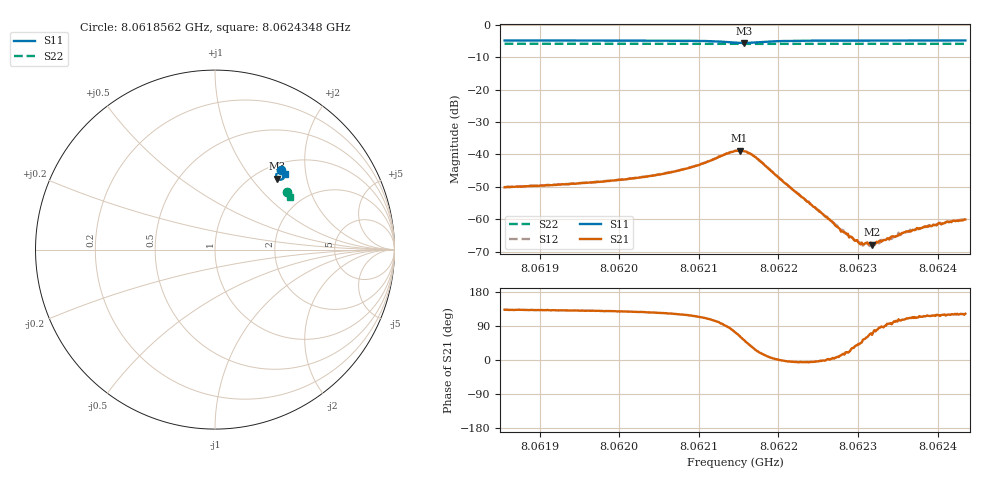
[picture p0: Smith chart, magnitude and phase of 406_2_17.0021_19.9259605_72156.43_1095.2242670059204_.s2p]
#  HZ  S  RI  R  50.00
! Rohde & Schwarz Vector Network Analyzer
! Rohde-Schwarz,ZNB20-2Port,1311601062101988,3.16
! Created: UTC 3/20/2024, 11:10:15 PM
! freq[Hz]  re:S11  im:S11  re:S21  im:S21  re:S12  im:S12  re:S22  im:S22
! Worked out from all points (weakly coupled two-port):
!   401 points, 8.0618562 GHz to 8.0624348 GHz, reference 50 ohm
!   highest |S21| = -38.82 dB at 8.0621512 GHz (marker M1); lowest = -67.9 dB at 8.0623176 GHz (marker M2)
!   lowest |S11| = -5.6 dB at 8.062157 GHz (marker M3), VSWR 3.23, Z = 62.1 + j68 ohm
!   |S11| at or under -10 dB: nowhere
!   |S22| runs from -5.9 to -5.8 dB; largest |S21 - S12| = 0.00079
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8.06185616e9  0.3679 0.4432  -0.00211 0.00229  -0.00199 0.00246  0.3992 0.3204
8.06195307e9  0.3748 0.4371  -0.00234 0.00274  -0.0022 0.00292  0.4029 0.3154
8.06200804e9  0.3791 0.4324  -0.00255 0.00327  -0.00236 0.00341  0.405 0.3126
8.06204999e9  0.3828 0.4272  -0.00275 0.00404  -0.00254 0.00422  0.4065 0.3104
8.06209628e9  0.3868 0.4162  -0.00285 0.00603  -0.00247 0.00628  0.4081 0.3076
8.06214546e9  0.3651 0.3895  0.00323 0.0108  0.00386 0.0108  0.4086 0.3043
8.06215125e9  0.356 0.3907  0.00512 0.0103  0.00588 0.01  0.4084 0.3043
8.06215703e9  0.3478 0.3957  0.00683 0.00881  0.00746 0.00856  0.4082 0.3042
8.0621715e9  0.341 0.4161  0.00814 0.00399  0.00829 0.00356  0.4087 0.3046
8.06224238e9  0.3715 0.4348  0.00162 -0.000142  0.00166 -0.000238  0.4127 0.3016
8.06226697e9  0.3759 0.4331  0.000928 6.3e-05  0.00091 -1.39e-05  0.4137 0.3003
8.06227854e9  0.3778 0.4324  0.000628 0.000136  0.000681 0.0001  0.4142 0.2997
8.06228577e9  0.3787 0.4318  0.000545 0.000207  0.000552 0.00016  0.4145 0.2993
8.06229879e9  0.3804 0.431  0.000373 0.000297  0.000383 0.000257  0.415 0.2988
8.06230458e9  0.3809 0.4306  0.000301 0.000314  0.0003 0.000294  0.4151 0.2984
8.0623176e9  0.3824 0.4297  0.000161 0.000369  0.000126 0.000365  0.4156 0.2977
8.06232772e9  0.3834 0.4291  3.89e-05 0.000468  7.85e-05 0.000427  0.416 0.2972
8.06233206e9  0.3839 0.4288  3.11e-05 0.000477  4.67e-05 0.000481  0.4162 0.2969
8.0623393e9  0.3845 0.4282  -5.14e-05 0.000484  -1.85e-05 0.000499  0.4164 0.2966
8.0623581e9  0.3862 0.4271  -0.00018 0.000604  -0.000151 0.000615  0.4172 0.2957
8.06239137e9  0.3887 0.4251  -0.000343 0.000701  -0.000324 0.000739  0.4182 0.294
8.06243477e9  0.3919 0.4225  -0.000526 0.000839  -0.00046 0.000886  0.4198 0.2916
